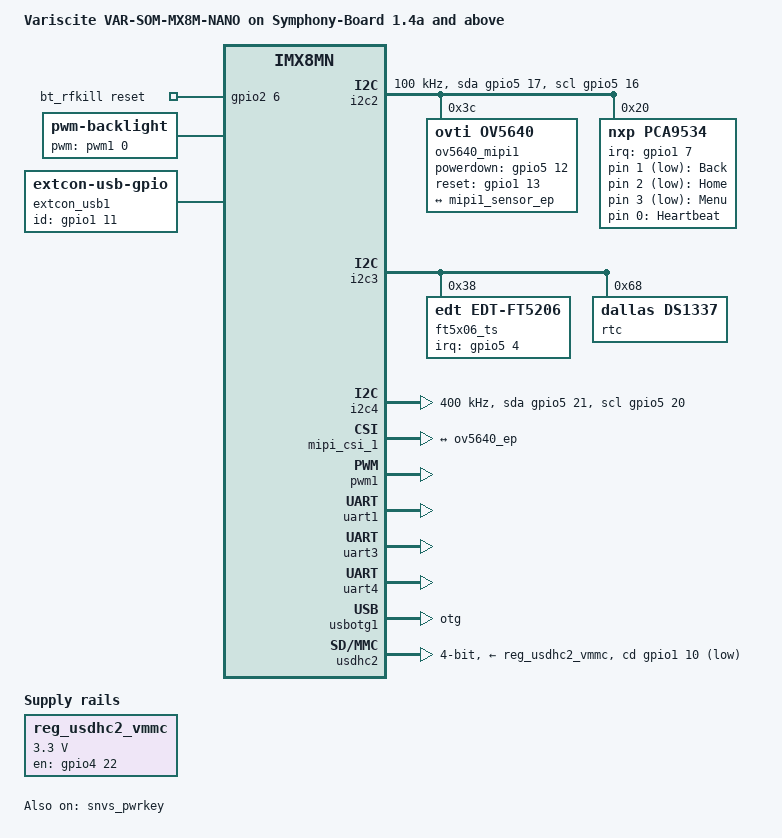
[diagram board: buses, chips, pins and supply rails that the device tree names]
// SPDX-License-Identifier: (GPL-2.0+ OR MIT)
/*
 * Copyright 2019 NXP
 * Copyright 2019-2020 Variscite Ltd.
 */

/dts-v1/;

#include <dt-bindings/usb/pd.h>
#include "imx8mn-var-som.dtsi"

/ {
	firmware {
		android {
			compatible = "android,firmware";
			/* default emmc node used for GSI */
			boot_devices = "soc@0/30800000.bus/30b60000.mmc";
			/* sd card node which used if androidboot.boot_device_root=mmcblk1 */
			boot_devices_mmcblk1 = "soc@0/30800000.bus/30b50000.mmc";
			/* emmc node which used if androidboot.boot_device_root=mmcblk2 */
			boot_devices_mmcblk2 = "soc@0/30800000.bus/30b60000.mmc";
			fstab {
				compatible = "android,fstab";
				system {
					compatible = "android,system";
					dev = "system";
					type = "ext4";
					mnt_flags = "noatime,errors=panic,ro,barrier=1,inode_readahead_blks=8";
					fsmgr_flags = "wait,slotselect,avb,avb_keys=/avb,logical,first_stage_mount";
				};
				system_ext {
					compatible = "android,system_ext";
					dev = "system_ext";
					type = "ext4";
					mnt_flags = "noatime,ro,errors=panic";
					fsmgr_flags = "wait,slotselect,avb,logical,first_stage_mount";
				};
				vendor {
					compatible = "android,vendor";
					dev = "vendor";
					type = "ext4";
					mnt_flags = "noatime,errors=panic,ro,barrier=1,inode_readahead_blks=8";
					fsmgr_flags = "wait,slotselect,avb,logical,first_stage_mount";
				};
				product {
					compatible = "android,product";
					dev = "product";
					type = "ext4";
					mnt_flags = "noatime,errors=panic,ro,barrier=1,inode_readahead_blks=8";
					fsmgr_flags = "wait,slotselect,avb,logical,first_stage_mount";
				};
				metadata {
					compatible = "android,metadata";
					dev = "/dev/block/by-name/metadata";
					type = "ext4";
					mnt_flags = "noatime,nosuid,nodev,discard,sync";
					fsmgr_flags = "wait,formattable,first_stage_mount,check";
				};
			};
			vbmeta {
				/*we need use FirstStageMountVBootV2 if we enable avb*/
				compatible = "android,vbmeta";
				/*parts means the partition witch can be mount in first stage*/
				parts = "vbmeta,dtbo,boot,system,vendor,product";
			};
		};
	};
};

/ {
	 bt_rfkill {
               compatible = "net,rfkill-gpio";
               pinctrl-names = "default";
               pinctrl-0 = <&pinctrl_bt>;
               reset-gpios = <&gpio2 6 GPIO_ACTIVE_HIGH>;
               name = "bt_rfkill";
               type = "bluetooth";
               status = "okay";
       };
};

/ {
	model = "Variscite VAR-SOM-MX8M-NANO on Symphony-Board 1.4a and above";
	compatible = "variscite,var-som-mx8mn", "fsl,imx8mn";

	chosen {
		bootargs = "console=ttymxc3,115200 earlycon=ec_imx6q,0x30a60000,115200 loglevel=8";
		stdout-path = &uart4;
	};

	backlight: backlight {
		compatible = "pwm-backlight";
		pwms = <&pwm1 0 1000000 0>;
		brightness-levels = < 0  1  2  3  4  5  6  7  8  9
				     10 11 12 13 14 15 16 17 18 19
				     20 21 22 23 24 25 26 27 28 29
				     30 31 32 33 34 35 36 37 38 39
				     40 41 42 43 44 45 46 47 48 49
				     50 51 52 53 54 55 56 57 58 59
				     60 61 62 63 64 65 66 67 68 69
				     70 71 72 73 74 75 76 77 78 79
				     80 81 82 83 84 85 86 87 88 89
				     90 91 92 93 94 95 96 97 98 99
				    100>;
		default-brightness-level = <80>;
		status = "okay";
	};

	gpio-keys {
		compatible = "gpio-keys";
		status = "okay";

		back {
			label = "Back";
			gpios = <&pca9534 1 GPIO_ACTIVE_LOW>;
			linux,code = <KEY_BACK>;
			wakeup-source;
		};

		home {
			label = "Home";
			gpios = <&pca9534 2 GPIO_ACTIVE_LOW>;
			linux,code = <KEY_HOME>;
			wakeup-source;
		};

		menu {
			label = "Menu";
			gpios = <&pca9534 3 GPIO_ACTIVE_LOW>;
			linux,code = <KEY_MENU>;
			wakeup-source;
		};
	};

	leds {
		compatible = "gpio-leds";
		status = "okay";

		heartbeat {
			label = "Heartbeat";
			gpios = <&pca9534 0 GPIO_ACTIVE_HIGH>;
			linux,default-trigger = "heartbeat";
		};
	};

	reg_usdhc2_vmmc: regulator-usdhc2 {
		compatible = "regulator-fixed";
		pinctrl-names = "default";
		pinctrl-0 = <&pinctrl_reg_usdhc2_vmmc>;
		regulator-name = "VSD_3V3";
		regulator-min-microvolt = <3300000>;
		regulator-max-microvolt = <3300000>;
		gpio = <&gpio4 22 GPIO_ACTIVE_HIGH>;
		off-on-delay = <20000>;
		enable-active-high;
	};

	extcon_usb1: extcon_usb1 {
		compatible = "linux,extcon-usb-gpio";
		pinctrl-names = "default";
		pinctrl-0 = <&pinctrl_extcon>;
		id-gpio = <&gpio1 11 GPIO_ACTIVE_HIGH>;
		status = "okay";
	};
};

&iomuxc {

	pinctrl_bt: btgrp {
		fsl,pins = <
			MX8MN_IOMUXC_SD1_DATA4_GPIO2_IO6               0xc1 /* BT_REG_ON    */
		>;
        };

	pinctrl_captouch: captouchgrp {
		fsl,pins = <
			MX8MN_IOMUXC_SPDIF_RX_GPIO5_IO4			0xc0
		>;
	};

	pinctrl_csi1: csi1grp {
		fsl,pins = <
			MX8MN_IOMUXC_GPIO1_IO13_GPIO1_IO13		0x19
			MX8MN_IOMUXC_ECSPI2_MISO_GPIO5_IO12		0x19
		>;
	};

	pinctrl_i2c2: i2c2grp {
		fsl,pins = <
			MX8MN_IOMUXC_I2C2_SCL_I2C2_SCL			0x400001c3
			MX8MN_IOMUXC_I2C2_SDA_I2C2_SDA			0x400001c3
		>;
	};

	pinctrl_i2c4: i2c4grp {
		fsl,pins = <
			MX8MN_IOMUXC_I2C4_SCL_I2C4_SCL			0x400001c3
			MX8MN_IOMUXC_I2C4_SDA_I2C4_SDA			0x400001c3
		>;
	};

	pinctrl_i2c2_gpio: i2c2grp-gpio {
		fsl,pins = <
			MX8MN_IOMUXC_I2C2_SCL_GPIO5_IO16		0x1c3
			MX8MN_IOMUXC_I2C2_SDA_GPIO5_IO17		0x1c3
		>;
	};

	pinctrl_i2c4_gpio: i2c4grp-gpio {
		fsl,pins = <
			MX8MN_IOMUXC_I2C4_SCL_GPIO5_IO20		0x1c3
			MX8MN_IOMUXC_I2C4_SDA_GPIO5_IO21		0x1c3
		>;
	};

	pinctrl_pca9534: pca9534grp {
		fsl,pins = <
			MX8MN_IOMUXC_GPIO1_IO07_GPIO1_IO7		0x16
		>;
	};

	pinctrl_pwm1: pwm1grp {
		fsl,pins = <
			MX8MN_IOMUXC_SPDIF_EXT_CLK_PWM1_OUT		0x06
		>;
	};

	pinctrl_uart1: uart1grp {
		fsl,pins = <
			MX8MN_IOMUXC_UART1_RXD_UART1_DCE_RX		0x140
			MX8MN_IOMUXC_UART1_TXD_UART1_DCE_TX		0x140
		>;
	};

	pinctrl_uart3: uart3grp {
		fsl,pins = <
			MX8MN_IOMUXC_UART3_RXD_UART3_DCE_RX		0x140
			MX8MN_IOMUXC_UART3_TXD_UART3_DCE_TX		0x140
		>;
	};

	pinctrl_uart4: uart4grp {
		fsl,pins = <
			MX8MN_IOMUXC_UART4_RXD_UART4_DCE_RX		0x140
			MX8MN_IOMUXC_UART4_TXD_UART4_DCE_TX		0x140
		>;
	};

	pinctrl_reg_usdhc2_vmmc: regusdhc2vmmc {
		fsl,pins = <
			MX8MN_IOMUXC_SAI2_RXC_GPIO4_IO22		0x41
		>;
	};

	pinctrl_usdhc2: usdhc2grp {
		fsl,pins = <
			MX8MN_IOMUXC_SD2_CLK_USDHC2_CLK			0x190
			MX8MN_IOMUXC_SD2_CMD_USDHC2_CMD			0x1d0
			MX8MN_IOMUXC_SD2_DATA0_USDHC2_DATA0		0x1d0
			MX8MN_IOMUXC_SD2_DATA1_USDHC2_DATA1		0x1d0
			MX8MN_IOMUXC_SD2_DATA2_USDHC2_DATA2		0x1d0
			MX8MN_IOMUXC_SD2_DATA3_USDHC2_DATA3		0x1d0
			MX8MN_IOMUXC_GPIO1_IO04_USDHC2_VSELECT		0x1d0
		>;
	};

	pinctrl_usdhc2_100mhz: usdhc2grp100mhz {
		fsl,pins = <
			MX8MN_IOMUXC_SD2_CLK_USDHC2_CLK			0x194
			MX8MN_IOMUXC_SD2_CMD_USDHC2_CMD			0x1d4
			MX8MN_IOMUXC_SD2_DATA0_USDHC2_DATA0		0x1d4
			MX8MN_IOMUXC_SD2_DATA1_USDHC2_DATA1		0x1d4
			MX8MN_IOMUXC_SD2_DATA2_USDHC2_DATA2		0x1d4
			MX8MN_IOMUXC_SD2_DATA3_USDHC2_DATA3		0x1d4
			MX8MN_IOMUXC_GPIO1_IO04_USDHC2_VSELECT		0x1d0
		>;
	};

	pinctrl_usdhc2_200mhz: usdhc2grp200mhz {
		fsl,pins = <
			MX8MN_IOMUXC_SD2_CLK_USDHC2_CLK			0x196
			MX8MN_IOMUXC_SD2_CMD_USDHC2_CMD			0x1d6
			MX8MN_IOMUXC_SD2_DATA0_USDHC2_DATA0		0x1d6
			MX8MN_IOMUXC_SD2_DATA1_USDHC2_DATA1		0x1d6
			MX8MN_IOMUXC_SD2_DATA2_USDHC2_DATA2		0x1d6
			MX8MN_IOMUXC_SD2_DATA3_USDHC2_DATA3		0x1d6
			MX8MN_IOMUXC_GPIO1_IO04_USDHC2_VSELECT		0x1d0
		>;
	};

	pinctrl_usdhc2_gpio: usdhc2grpgpio {
		fsl,pins = <
			MX8MN_IOMUXC_GPIO1_IO10_GPIO1_IO10		0x41
		>;
	};

	pinctrl_extcon: extcongrp {
		fsl,pins = <
			MX8MN_IOMUXC_GPIO1_IO11_GPIO1_IO11		0x16
		>;
	};
};

&i2c2 {
	clock-frequency = <100000>;
	pinctrl-names = "default", "gpio";
	pinctrl-0 = <&pinctrl_i2c2>;
	pinctrl-1 = <&pinctrl_i2c2_gpio>;
	scl-gpios = <&gpio5 16 GPIO_ACTIVE_HIGH>;
	sda-gpios = <&gpio5 17 GPIO_ACTIVE_HIGH>;
	status = "okay";

	ov5640_mipi1: ov5640_mipi1@3c {
		status = "okay";
		compatible = "ovti,ov5640";
		reg = <0x3c>;
		pinctrl-names = "default";
		pinctrl-0 = <&pinctrl_csi1>;
		clocks = <&clk IMX8MN_CLK_CLKO1>;
		clock-names = "xclk";
/* Disabled CLKO1, since VAR-SOM-MX8M-NANO camera expansion board uses
 * its own oscillator. Enable CLK01 if your design requires it
 */
#if 0
		assigned-clocks = <&clk IMX8MN_CLK_CLKO1>;
		assigned-clock-parents = <&clk IMX8MN_CLK_24M>;
#endif
		assigned-clock-rates = <24000000>;
		csi_id = <0>;
		powerdown-gpios = <&gpio5 12 GPIO_ACTIVE_HIGH>;
		reset-gpios = <&gpio1 13 GPIO_ACTIVE_HIGH>;
		mclk = <24000000>;
		mclk_source = <0>;
		mipi_csi;
		port {
			ov5640_ep: endpoint {
				remote-endpoint = <&mipi1_sensor_ep>;
				data-lanes = <1 2>;
				clocks-lanes = <0>;
			};
		};
	};

	/* GPIO expander */
	pca9534: gpio@20 {
		status = "okay";
		compatible = "nxp,pca9534";
		reg = <0x20>;
		gpio-controller;
		pinctrl-names = "default";
		pinctrl-0 = <&pinctrl_pca9534>;
		interrupt-parent = <&gpio1>;
		interrupts = <7 IRQ_TYPE_EDGE_FALLING>;
		#gpio-cells = <2>;
		wakeup-source;

		usb3_sel_hog {
			gpio-hog;
			gpios = <4 GPIO_ACTIVE_HIGH>;
			output-low;
			line-name = "usb3_sel";
		};

		enet_rst_hog {
			gpio-hog;
			gpios = <5 GPIO_ACTIVE_HIGH>;
			output-low;
			line-name = "enet_rst";
		};

		som_vsel_hog {
			gpio-hog;
			gpios = <6 GPIO_ACTIVE_HIGH>;
			output-low;
			line-name = "som_vsel";
		};

		enet_sel_hog {
			gpio-hog;
			gpios = <7 GPIO_ACTIVE_HIGH>;
			output-low;
			line-name = "enet_sel";
		};
	};
};

&i2c3 {
	/* Capacitive touch controller */
	ft5x06_ts: ft5x06_ts@38 {
		status = "okay";
		compatible = "edt,edt-ft5206";
		reg = <0x38>;
		pinctrl-names = "default";
		pinctrl-0 = <&pinctrl_captouch>;
		interrupt-parent = <&gpio5>;
		interrupts = <4 IRQ_TYPE_EDGE_FALLING>;
		touchscreen-size-x = <800>;
		touchscreen-size-y = <480>;
		touchscreen-inverted-x;
		touchscreen-inverted-y;
		wakeup-source;
	};

	/* DS1337 RTC module */
	rtc@68 {
		status = "okay";
		compatible = "dallas,ds1337";
		reg = <0x68>;
	};
};

&i2c4 {
	clock-frequency = <400000>;
	pinctrl-names = "default", "gpio";
	pinctrl-0 = <&pinctrl_i2c4>;
	pinctrl-1 = <&pinctrl_i2c4_gpio>;
	scl-gpios = <&gpio5 20 GPIO_ACTIVE_HIGH>;
	sda-gpios = <&gpio5 21 GPIO_ACTIVE_HIGH>;
	status = "okay";
};

&mipi_csi_1 {
	#address-cells = <1>;
	#size-cells = <0>;
	status = "okay";
	port@0 {
		reg = <0>;
		mipi1_sensor_ep: endpoint {
			remote-endpoint = <&ov5640_ep>;
			data-lanes = <2>;
			csis-hs-settle = <13>;
			csis-clk-settle = <2>;
			csis-wclk;
		};
	};
};

&pwm1 {
	status = "okay";
	pinctrl-names = "default";
	pinctrl-0 = <&pinctrl_pwm1>;
};

&snvs_pwrkey {
	status = "okay";
};

&snvs_rtc {
	status = "disabled";
};

/* Header */
&uart1 {
	pinctrl-names = "default";
	pinctrl-0 = <&pinctrl_uart1>;
	status = "okay";
};

/* Header */
&uart3 {
	pinctrl-names = "default";
	pinctrl-0 = <&pinctrl_uart3>;
	status = "okay";
};

/* Console */
&uart4 {
	pinctrl-names = "default";
	pinctrl-0 = <&pinctrl_uart4>;
	status = "okay";
	/delete-property/ dmas;
	/delete-property/ dma-names;
};

&usbotg1 {
	dr_mode = "otg";
	picophy,pre-emp-curr-control = <3>;
	picophy,dc-vol-level-adjust = <7>;
	hnp-disable;
	srp-disable;
	adp-disable;
	extcon = <0>, <&extcon_usb1>;
	status = "okay";
};

/* SD */
&usdhc2 {
	pinctrl-names = "default", "state_100mhz", "state_200mhz";
	pinctrl-0 = <&pinctrl_usdhc2>, <&pinctrl_usdhc2_gpio>;
	pinctrl-1 = <&pinctrl_usdhc2_100mhz>, <&pinctrl_usdhc2_gpio>;
	pinctrl-2 = <&pinctrl_usdhc2_200mhz>, <&pinctrl_usdhc2_gpio>;
	cd-gpios = <&gpio1 10 GPIO_ACTIVE_LOW>;
	bus-width = <4>;
	vmmc-supply = <&reg_usdhc2_vmmc>;
	status = "okay";
};
